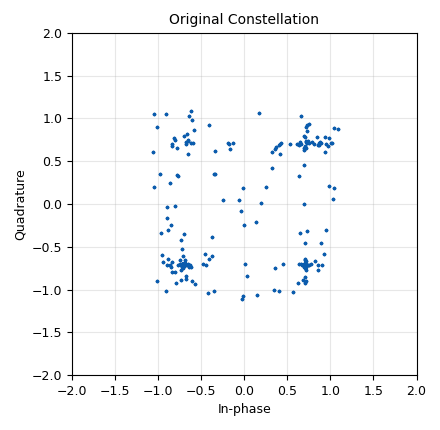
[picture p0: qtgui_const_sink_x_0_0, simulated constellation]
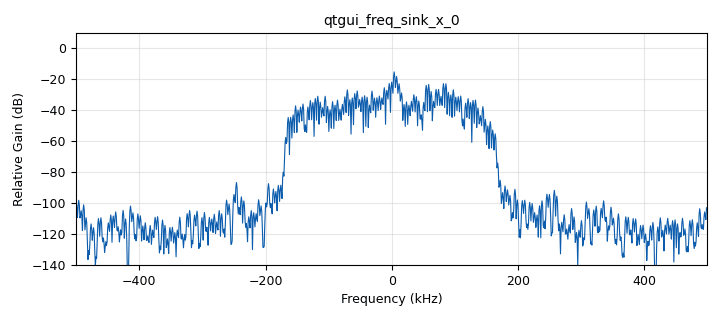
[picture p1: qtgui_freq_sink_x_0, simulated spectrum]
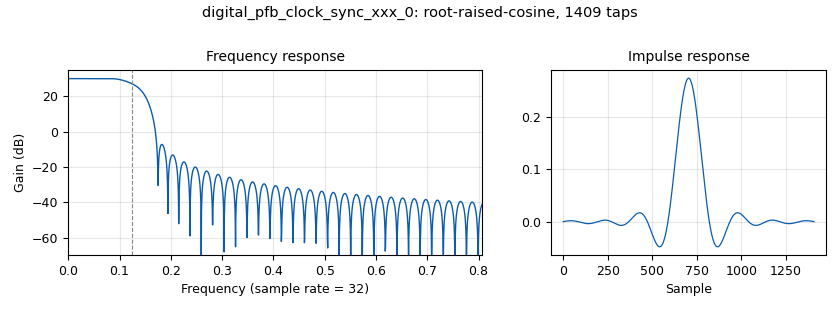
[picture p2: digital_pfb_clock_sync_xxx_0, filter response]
options:
  parameters:
    author: iar
    generate_options: qt_gui
    id: mpsk_phase_frequency_timing_decode_USRP
    output_language: python
    title: TX + RX
  states: {}

blocks:
- name: arity
  id: variable
  parameters:
    value: '4'
  states: {}
- name: bp_high
  id: variable
  parameters:
    value: 0.5e6
  states: {}
- name: bp_low
  id: variable
  parameters:
    value: '1'
  states: {}
- name: bp_taps
  id: variable_band_pass_filter_taps
  parameters:
    gain: '1.0'
    high_cutoff_freq: bp_high
    low_cutoff_freq: bp_low
    samp_rate: samp_rate
    type: band_pass
    width: transition
    win: window.WIN_HAMMING
  states: {}
- name: centerfreq
  id: variable
  parameters:
    value: 2.4e9
  states: {}
- name: data
  id: variable
  parameters:
    value: '[0]*4+[1,0,1,0]'
  states: {}
- name: delay
  id: variable_qtgui_range
  parameters:
    gui_hint: 1,0,1,1
    label: Delay
    start: '0'
    step: '1'
    stop: '200'
    value: '0'
  states: {}
- name: eb
  id: variable
  parameters:
    value: '0.35'
  states: {}
- name: eq_gain
  id: variable_qtgui_range
  parameters:
    gui_hint: 'controls@1: 0,1,1,1'
    label: 'Equalizer: rate'
    start: '0.0'
    step: '0.001'
    stop: '0.1'
    value: '0.01'
    widget: slider
  states: {}
- name: excess_bw
  id: variable
  parameters:
    value: '0.35'
  states: {}
- name: freq_offset
  id: variable_qtgui_range
  parameters:
    gui_hint: 'controls@0: 0,1,1,1'
    label: Frequency Offset
    start: '-0.1'
    step: '0.001'
    stop: '0.1'
    value: '0'
  states: {}
- name: mark_delay
  id: variable
  parameters:
    value: mark_delays[sps]
  states: {}
- name: mark_delays
  id: variable
  parameters:
    comment: |-
      Tag Marking Delay for 
      Corr Est block, indexed
      by sps.

      Found empirically.
    value: '[0, 0, 34, 56, 87, 119]'
  states: {}
- name: modulated_sync_word
  id: variable_modulate_vector
  parameters:
    data: preamble
    mod: rxmod
    taps: '[1]'
  states: {}
- name: nfilts
  id: variable
  parameters:
    value: '32'
  states: {}
- name: noise_volt
  id: variable_qtgui_range
  parameters:
    gui_hint: 'controls@0: 0,0,1,1'
    label: Noise Voltage
    start: '0'
    step: '0.01'
    stop: '1'
    value: '0.0001'
  states: {}
- name: phase_bw
  id: variable_qtgui_range
  parameters:
    gui_hint: 'controls@1: 0,2,1,1'
    label: 'Phase: Bandwidth'
    start: '0.0'
    step: '0.01'
    stop: '1.0'
    value: 6.28/100.0
    widget: slider
  states: {}
- name: preamble
  id: variable
  parameters:
    value: '[0x70, 0x72, 0x65, 0x61, 0x6D, 0x62, 0x6C, 0x65]'
  states: {}
- name: qpsk
  id: variable_constellation_rect
  parameters:
    const_points: '[0.707+0.707j, -0.707+0.707j, -0.707-0.707j, 0.707-0.707j]'
    imag_sect: '2'
    real_sect: '2'
    rot_sym: '4'
    sym_map: '[0, 1, 2, 3]'
    w_imag_sect: '1'
    w_real_sect: '1'
  states: {}
- name: rrc_taps
  id: variable
  parameters:
    value: firdes.root_raised_cosine(nfilts, nfilts, 1.0/float(sps), 0.35, 11*sps*nfilts)
  states: {}
- name: rxmod
  id: variable
  parameters:
    value: digital.generic_mod(qpsk, False, sps, True, eb, False, False)
  states: {}
- name: samp_rate
  id: variable
  parameters:
    value: 1e6
  states: {}
- name: sps
  id: variable
  parameters:
    value: '4'
  states: {}
- name: taps
  id: variable
  parameters:
    value: '[1.0, 0.25-0.25j, 0.50 + 0.10j, -0.3 + 0.2j]'
  states: {}
- name: time_offset
  id: variable_qtgui_range
  parameters:
    gui_hint: 'controls@0: 0,2,1,1'
    label: Timing Offset
    start: '0.999'
    step: '0.0001'
    stop: '1.001'
    value: '1.00'
  states: {}
- name: timing_loop_bw
  id: variable_qtgui_range
  parameters:
    gui_hint: 'controls@1: 0,0,1,1'
    label: 'Time: BW'
    start: '0.0'
    step: '0.01'
    stop: '0.2'
    value: 6.28/100.0
    widget: slider
  states: {}
- name: transition
  id: variable
  parameters:
    value: 1e4
  states: {}
- name: variable_adaptive_algorithm_0
  id: variable_adaptive_algorithm
  parameters:
    cons: qpsk
    modulus: '4'
    step_size: '.0001'
    type: cma
  states: {}
- name: analog_random_source_x_0
  id: analog_random_source_x
  parameters:
    max: '255'
    min: '0'
    num_samps: '10000'
    repeat: 'True'
    type: byte
  states: {state: disabled}
- name: blocks_char_to_float_0
  id: blocks_char_to_float
  parameters:
    scale: '1'
  states: {}
- name: blocks_char_to_float_0_0
  id: blocks_char_to_float
  parameters:
    scale: '1'
  states: {}
- name: blocks_char_to_float_0_0_0
  id: blocks_char_to_float
  parameters:
    scale: '1'
  states: {}
- name: blocks_delay_0
  id: blocks_delay
  parameters:
    delay: int(delay)
    type: float
  states: {}
- name: blocks_file_sink_0
  id: blocks_file_sink
  parameters:
    file: /home/iar/Desktop/XXC_In-Band-USRP/Attacker_TX_RX/XXC/Constellation/constellation_qpsk
    type: float
  states: {state: disabled}
- name: blocks_file_sink_0_0
  id: blocks_file_sink
  parameters:
    file: /home/iar/Desktop/XXC_In-Band-USRP/Attacker_TX_RX/XXC/Constellation/original
    type: float
  states: {state: disabled}
- name: blocks_multiply_const_vxx_0
  id: blocks_multiply_const_vxx
  parameters:
    const: '10'
    type: complex
  states: {}
- name: blocks_unpack_k_bits_bb_0
  id: blocks_unpack_k_bits_bb
  parameters:
    k: '2'
  states: {}
- name: blocks_unpack_k_bits_bb_0_0
  id: blocks_unpack_k_bits_bb
  parameters:
    k: '8'
  states: {}
- name: blocks_vector_source_x_0_0
  id: blocks_vector_source_x
  parameters:
    repeat: 'True'
    type: byte
    vector: preamble+data
  states: {}
- name: controls
  id: qtgui_tab_widget
  parameters:
    gui_hint: 0,0,1,2
    label0: Channel
    label1: Receiver
    num_tabs: '2'
  states: {}
- name: digital_constellation_modulator_0
  id: digital_constellation_modulator
  parameters:
    constellation: qpsk
    differential: 'True'
    excess_bw: excess_bw
    samples_per_symbol: sps
  states: {}
- name: digital_constellation_receiver_cb_0
  id: digital_constellation_receiver_cb
  parameters:
    constellation: qpsk
    fmax: '0'
    fmin: '0'
    loop_bw: excess_bw
  states: {}
- name: digital_corr_est_cc_0
  id: digital_corr_est_cc
  parameters:
    mark_delay: mark_delay
    sps: sps
    symbols: modulated_sync_word
    threshold: '0.999'
    threshold_method: digital.THRESHOLD_DYNAMIC
  states: {}
- name: digital_costas_loop_cc_0
  id: digital_costas_loop_cc
  parameters:
    order: arity
    w: phase_bw
  states: {}
- name: digital_diff_decoder_bb_0
  id: digital_diff_decoder_bb
  parameters:
    coding: digital.DIFF_DIFFERENTIAL
    modulus: '4'
  states: {}
- name: digital_linear_equalizer_0
  id: digital_linear_equalizer
  parameters:
    alg: variable_adaptive_algorithm_0
    num_taps: '15'
    sps: '2'
    training_sequence: preamble
  states: {}
- name: digital_map_bb_0
  id: digital_map_bb
  parameters:
    map: '[0,1,2,3]'
  states: {}
- name: digital_pfb_clock_sync_xxx_0
  id: digital_pfb_clock_sync_xxx
  parameters:
    filter_size: nfilts
    init_phase: nfilts/2
    loop_bw: timing_loop_bw
    max_dev: '1.5'
    osps: '2'
    sps: sps
    taps: rrc_taps
    type: ccf
  states: {}
- name: note_0
  id: note
  parameters:
    comment: |-
      The CMA equalizer has been
      replaced by a Linear Equalizer
      and an Adaptive Algorithm for
      version 3.9
    note: CMA equalizer replaced
  states: {}
- name: qtgui_const_sink_x_0
  id: qtgui_const_sink_x
  parameters:
    gui_hint: 'received@0: 0,0,1,1'
    name: '"RX constellation after processing"'
    size: '1024'
    type: complex
  states: {}
- name: qtgui_const_sink_x_0_0
  id: qtgui_const_sink_x
  parameters:
    name: '"Original Constellation"'
    size: '1024'
    type: complex
  states: {}
- name: qtgui_const_sink_x_0_0_0
  id: qtgui_const_sink_x
  parameters:
    name: '"RX Received Directly"'
    size: '1024'
    type: complex
  states: {}
- name: qtgui_freq_sink_x_0
  id: qtgui_freq_sink_x
  parameters:
    bw: samp_rate
    fc: '0'
    fftsize: '1024'
    type: complex
  states: {}
- name: qtgui_freq_sink_x_0_0
  id: qtgui_freq_sink_x
  parameters:
    bw: samp_rate
    fc: '0'
    fftsize: '1024'
    name: RX directly
    type: complex
  states: {}
- name: qtgui_time_sink_x_0
  id: qtgui_time_sink_x
  parameters:
    gui_hint: 'received@1: 0,0,1,1'
    label1: Symbols
    name: ''
    size: '500'
    srate: samp_rate
    type: float
    ymax: '4'
  states: {}
- name: qtgui_time_sink_x_0_0
  id: qtgui_time_sink_x
  parameters:
    gui_hint: 2,1,1,1
    label1: Rx Bits
    label2: Tx Bits
    name: ''
    nconnections: '2'
    size: '128'
    srate: samp_rate
    tr_mode: qtgui.TRIG_MODE_AUTO
    type: float
    ymax: '2'
  states: {}
- name: received
  id: qtgui_tab_widget
  parameters:
    gui_hint: 2,0,1,1
    label0: Constellation
    label1: Symbols
    num_tabs: '2'
  states: {}
- name: uhd_usrp_sink_0
  id: uhd_usrp_sink
  parameters:
    ant0: '"TX/RX"'
    bw0: 22e6
    center_freq0: centerfreq
    dev_addr: '"addr = 192.168.10.4"'
    gain0: '1'
    gain_type0: normalized
    samp_rate: samp_rate
    sync: pc_clock
    type: fc32
  states: {}
- name: uhd_usrp_source_0
  id: uhd_usrp_source
  parameters:
    ant0: '"TX/RX"'
    bw0: 22e6
    center_freq0: centerfreq
    dev_addr: '"addr = 192.168.10.5"'
    gain0: '1'
    gain_type0: normalized
    samp_rate: samp_rate
    sync: pc_clock
    type: fc32
  states: {}

connections:
- [analog_random_source_x_0, '0', blocks_unpack_k_bits_bb_0_0, '0']
- [analog_random_source_x_0, '0', digital_constellation_modulator_0, '0']
- [blocks_char_to_float_0, '0', qtgui_time_sink_x_0, '0']
- [blocks_char_to_float_0_0, '0', blocks_file_sink_0, '0']
- [blocks_char_to_float_0_0, '0', qtgui_time_sink_x_0_0, '0']
- [blocks_char_to_float_0_0_0, '0', blocks_delay_0, '0']
- [blocks_char_to_float_0_0_0, '0', blocks_file_sink_0_0, '0']
- [blocks_delay_0, '0', qtgui_time_sink_x_0_0, '1']
- [blocks_multiply_const_vxx_0, '0', digital_corr_est_cc_0, '0']
- [blocks_unpack_k_bits_bb_0, '0', blocks_char_to_float_0_0, '0']
- [blocks_unpack_k_bits_bb_0_0, '0', blocks_char_to_float_0_0_0, '0']
- [blocks_vector_source_x_0_0, '0', blocks_unpack_k_bits_bb_0_0, '0']
- [blocks_vector_source_x_0_0, '0', digital_constellation_modulator_0, '0']
- [digital_constellation_modulator_0, '0', qtgui_const_sink_x_0_0, '0']
- [digital_constellation_modulator_0, '0', qtgui_freq_sink_x_0, '0']
- [digital_constellation_modulator_0, '0', uhd_usrp_sink_0, '0']
- [digital_constellation_receiver_cb_0, '0', blocks_char_to_float_0, '0']
- [digital_constellation_receiver_cb_0, '0', digital_diff_decoder_bb_0, '0']
- [digital_corr_est_cc_0, '0', digital_pfb_clock_sync_xxx_0, '0']
- [digital_corr_est_cc_0, '0', qtgui_const_sink_x_0_0_0, '0']
- [digital_costas_loop_cc_0, '0', digital_constellation_receiver_cb_0, '0']
- [digital_costas_loop_cc_0, '0', qtgui_const_sink_x_0, '0']
- [digital_costas_loop_cc_0, '0', qtgui_freq_sink_x_0_0, '0']
- [digital_diff_decoder_bb_0, '0', digital_map_bb_0, '0']
- [digital_linear_equalizer_0, '0', digital_costas_loop_cc_0, '0']
- [digital_map_bb_0, '0', blocks_unpack_k_bits_bb_0, '0']
- [digital_pfb_clock_sync_xxx_0, '0', digital_linear_equalizer_0, '0']
- [uhd_usrp_source_0, '0', blocks_multiply_const_vxx_0, '0']

metadata:
  file_format: 1
